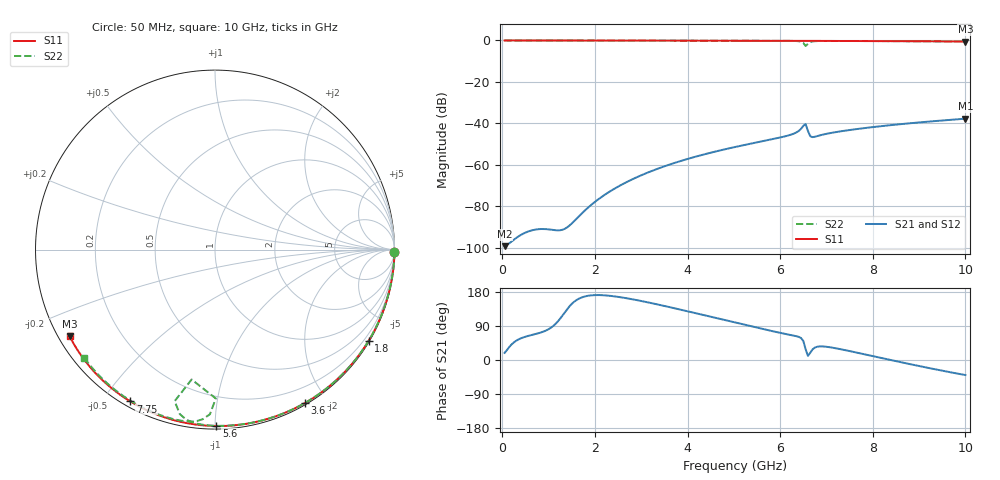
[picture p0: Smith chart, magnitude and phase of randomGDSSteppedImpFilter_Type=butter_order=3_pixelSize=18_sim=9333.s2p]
! freq	dB(S11)	phase(S11)	dB(S12)	phase(S12)
!  dB(S21)	phase(S21)	dB(S22)	phase(S22)
!S-par simulation data
#  GHz  S  DB  R 50
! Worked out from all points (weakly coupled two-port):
!   200 points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, 50 MHz to 10 GHz, reference 50 ohm
!   highest |S21| = -37.74 dB at 10 GHz (marker M1); lowest = -99.2 dB at 50 MHz (marker M2)
!   lowest |S11| = -0.5 dB at 10 GHz (marker M3), VSWR 34.08, Z = 1.58 - j13.7 ohm
!   |S11| at or under -10 dB: nowhere
!   |S22| runs from -2.7 to 0.0 dB; largest |S21 - S12| = 0
!   S11 on the Smith chart (normalised r, x): 50 MHz: open; 1.8 GHz: 0.03, -3.65; 3.6 GHz: 0.02, -1.74; 5.6 GHz: 0.02, -1.01; 7.75 GHz: 0.02, -0.59; 10 GHz: 0.03, -0.27
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0.05  -0.00 -0.9  -99.22 18.8  -99.22 18.8  -0.00 -0.8
0.9  -0.02 -15.5  -90.95 75.5  -90.95 75.5  -0.02 -14.6
1.75  -0.04 -29.8  -82.71 166.5  -82.71 166.5  -0.04 -28.1
1.8  -0.04 -30.6  -81.66 168.2  -81.66 168.2  -0.04 -28.8
1.9  -0.04 -32.3  -79.69 170.3  -79.69 170.3  -0.04 -30.4
2.25  -0.05 -38.0  -73.87 170.3  -73.87 170.3  -0.05 -35.9
2.65  -0.06 -44.6  -68.71 163.7  -68.71 163.7  -0.05 -42.0
3.4  -0.08 -56.5  -61.50 145.3  -61.50 145.3  -0.07 -53.4
3.6  -0.08 -59.7  -59.95 139.9  -59.95 139.9  -0.08 -56.4
5.05  -0.13 -81.6  -51.27 98.2  -51.27 98.2  -0.12 -77.4
5.6  -0.15 -89.6  -48.70 82.5  -48.70 82.5  -0.14 -85.3
6.15  -0.17 -97.3  -45.99 67.8  -45.99 67.8  -0.19 -93.8
6.4  -0.19 -100.8  -43.67 61.1  -43.67 61.1  -0.37 -99.8
6.5  -0.19 -102.2  -41.17 50.4  -41.17 50.4  -1.17 -104.9
6.55  -0.19 -102.9  -40.35 28.3  -40.35 28.3  -2.67 -100.2
6.6  -0.20 -103.6  -43.66 10.9  -43.66 10.9  -1.62 -89.7
6.65  -0.20 -104.3  -46.20 19.1  -46.20 19.1  -0.75 -91.8
6.7  -0.20 -105.0  -46.64 28.1  -46.64 28.1  -0.47 -94.1
7  -0.22 -109.1  -45.04 34.9  -45.04 34.9  -0.25 -101.2
7.75  -0.28 -119.2  -42.46 17.0  -42.46 17.0  -0.27 -111.9
8.35  -0.33 -127.2  -40.93 1.0  -40.93 1.0  -0.32 -119.7
10  -0.51 -149.2  -37.74 -39.7  -37.74 -39.7  -0.49 -140.4
